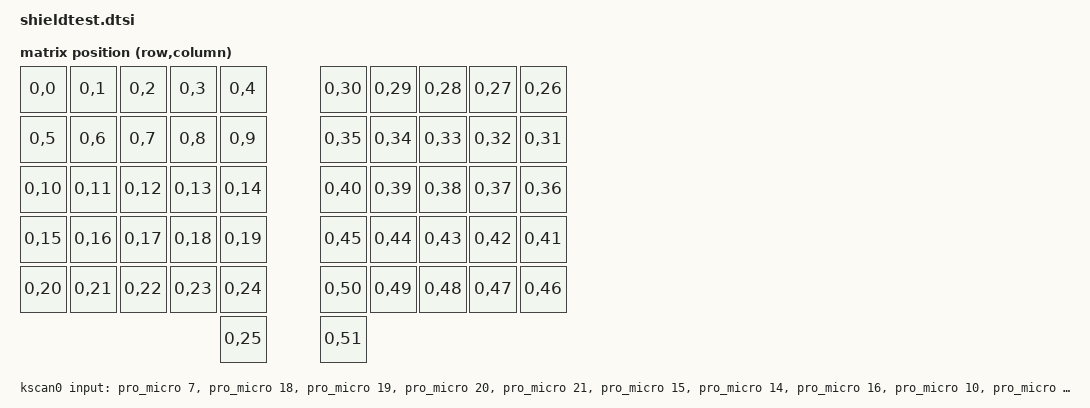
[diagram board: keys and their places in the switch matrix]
/*
 * Copyright (c) 2020 The ZMK Contributors
 *
 * SPDX-License-Identifier: MIT
 */

#include <dt-bindings/zmk/matrix_transform.h>

/ {

	chosen {
		zmk,kscan = &kscan0;
		zmk,matrix_transform = &default_transform;
	};

	default_transform: keymap_transform_0 {
		compatible = "zmk,matrix-transform";
		columns = <52>;
		rows = <1>;
		map = <
		RC(0,0)  RC(0,1)  RC(0,2)  RC(0,3)  RC(0,4)   RC(0,30) RC(0,29) RC(0,28) RC(0,27) RC(0,26)
		RC(0,5)  RC(0,6)  RC(0,7)  RC(0,8)  RC(0,9)   RC(0,35) RC(0,34) RC(0,33) RC(0,32) RC(0,31)  
		RC(0,10) RC(0,11) RC(0,12) RC(0,13) RC(0,14)  RC(0,40) RC(0,39) RC(0,38) RC(0,37) RC(0,36)  
		RC(0,15) RC(0,16) RC(0,17) RC(0,18) RC(0,19)  RC(0,45) RC(0,44) RC(0,43) RC(0,42) RC(0,41) 
    RC(0,20) RC(0,21) RC(0,22) RC(0,23) RC(0,24)  RC(0,50) RC(0,49) RC(0,48) RC(0,47) RC(0,46) 
    RC(0,25) RC(0,51)
    >;
	};

	kscan0: kscan {
		compatible = "zmk,kscan-gpio-direct";
		label = "KSCAN";
		input-gpios
		= <&pro_micro  7 (GPIO_ACTIVE_LOW | GPIO_PULL_UP)>
		, <&pro_micro 18 (GPIO_ACTIVE_LOW | GPIO_PULL_UP)>
		, <&pro_micro 19 (GPIO_ACTIVE_LOW | GPIO_PULL_UP)>
		, <&pro_micro 20 (GPIO_ACTIVE_LOW | GPIO_PULL_UP)>
		, <&pro_micro 21 (GPIO_ACTIVE_LOW | GPIO_PULL_UP)>
		, <&pro_micro 15 (GPIO_ACTIVE_LOW | GPIO_PULL_UP)>
		, <&pro_micro 14 (GPIO_ACTIVE_LOW | GPIO_PULL_UP)>
		, <&pro_micro 16 (GPIO_ACTIVE_LOW | GPIO_PULL_UP)>
		, <&pro_micro 10 (GPIO_ACTIVE_LOW | GPIO_PULL_UP)>
		, <&pro_micro  1 (GPIO_ACTIVE_LOW | GPIO_PULL_UP)>
		, <&pro_micro  2 (GPIO_ACTIVE_LOW | GPIO_PULL_UP)>
		, <&pro_micro  3 (GPIO_ACTIVE_LOW | GPIO_PULL_UP)>
		, <&pro_micro  4 (GPIO_ACTIVE_LOW | GPIO_PULL_UP)>
		, <&pro_micro  5 (GPIO_ACTIVE_LOW | GPIO_PULL_UP)>
		, <&pro_micro  6 (GPIO_ACTIVE_LOW | GPIO_PULL_UP)>
		, <&pro_micro  8 (GPIO_ACTIVE_LOW | GPIO_PULL_UP)>
		, <&pro_micro  9 (GPIO_ACTIVE_LOW | GPIO_PULL_UP)>
		, <&pro_micro  0 (GPIO_ACTIVE_LOW | GPIO_PULL_UP)>
		, <&gpio1      0 (GPIO_ACTIVE_LOW | GPIO_PULL_UP)>
		, <&gpio1      2 (GPIO_ACTIVE_LOW | GPIO_PULL_UP)>
		, <&gpio1      4 (GPIO_ACTIVE_LOW | GPIO_PULL_UP)>
		, <&gpio0      5 (GPIO_ACTIVE_LOW | GPIO_PULL_UP)>
		, <&gpio0      7 (GPIO_ACTIVE_LOW | GPIO_PULL_UP)>
		, <&gpio0      12 (GPIO_ACTIVE_LOW | GPIO_PULL_UP)>
		, <&gpio0      22 (GPIO_ACTIVE_LOW | GPIO_PULL_UP)>
		, <&gpio0      26 (GPIO_ACTIVE_LOW | GPIO_PULL_UP)>
		;
	};

};
